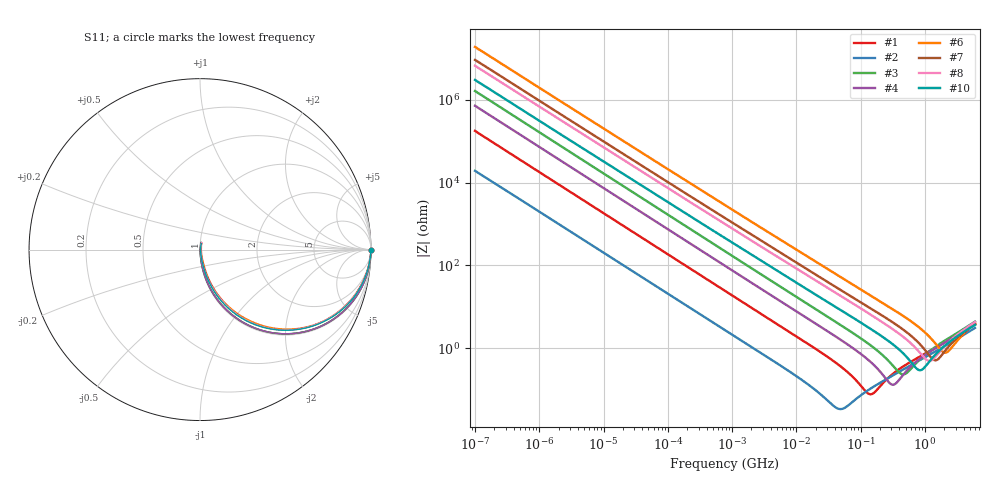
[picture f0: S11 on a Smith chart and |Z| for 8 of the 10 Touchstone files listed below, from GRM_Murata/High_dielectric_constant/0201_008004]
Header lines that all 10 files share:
!These Parameters are Measured in Series Mode Connection
!Data Generated on Mar 30, 2021
!  o--ll--o
!Port1  Port2
!  o------o
!Operation Temp=25[degC], DC Bias Voltage=0[V]
!Freq. Start=100[Hz] Stop=6[GHz] 401[Steps]
# Hz S RI R 50
!Freq.(Hz) S11(Real) S11(Imag) S21(Real) S21(Imag) S12(Real) S12(Imag) S22(Real) S22(Imag)
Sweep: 100 Hz to 6 GHz
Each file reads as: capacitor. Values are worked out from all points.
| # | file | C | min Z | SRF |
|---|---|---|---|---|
| 1 | GRM011R60G103KE01.s2p | 8.97 nF | 77.6 mohm | 145.5 MHz |
| 2 | GRM011R60G104ME01.s2p | 82.1 nF | 34 mohm | 50.19 MHz |
| 3 | GRM011R60J102KE01.s2p | 977 pF | 235 mohm | 464.1 MHz |
| 4 | GRM011R60J222ME01.s2p | 2.21 nF | 132 mohm | 320.6 MHz |
| 5 | GRM011R60J472KE01.s2p | 4.63 nF | 116 mohm | 199.3 MHz |
| 6 | GRM011R61A101KE01.s2p | 83.9 pF | 783 mohm | 2.056 GHz |
| 7 | GRM011R61A221ME01.s2p | 173 pF | 512 mohm | 1.452 GHz |
| 8 | GRM011R61A331KE01.s2p | 239 pF | 495 mohm | 1.169 GHz |
| 9 | GRM011R61A471KE01.s2p | 345 pF | 433 mohm | 1.013 GHz |
| 10 | GRM011R61A681ME01.s2p | 527 pF | 294 mohm | 835.1 MHz |
